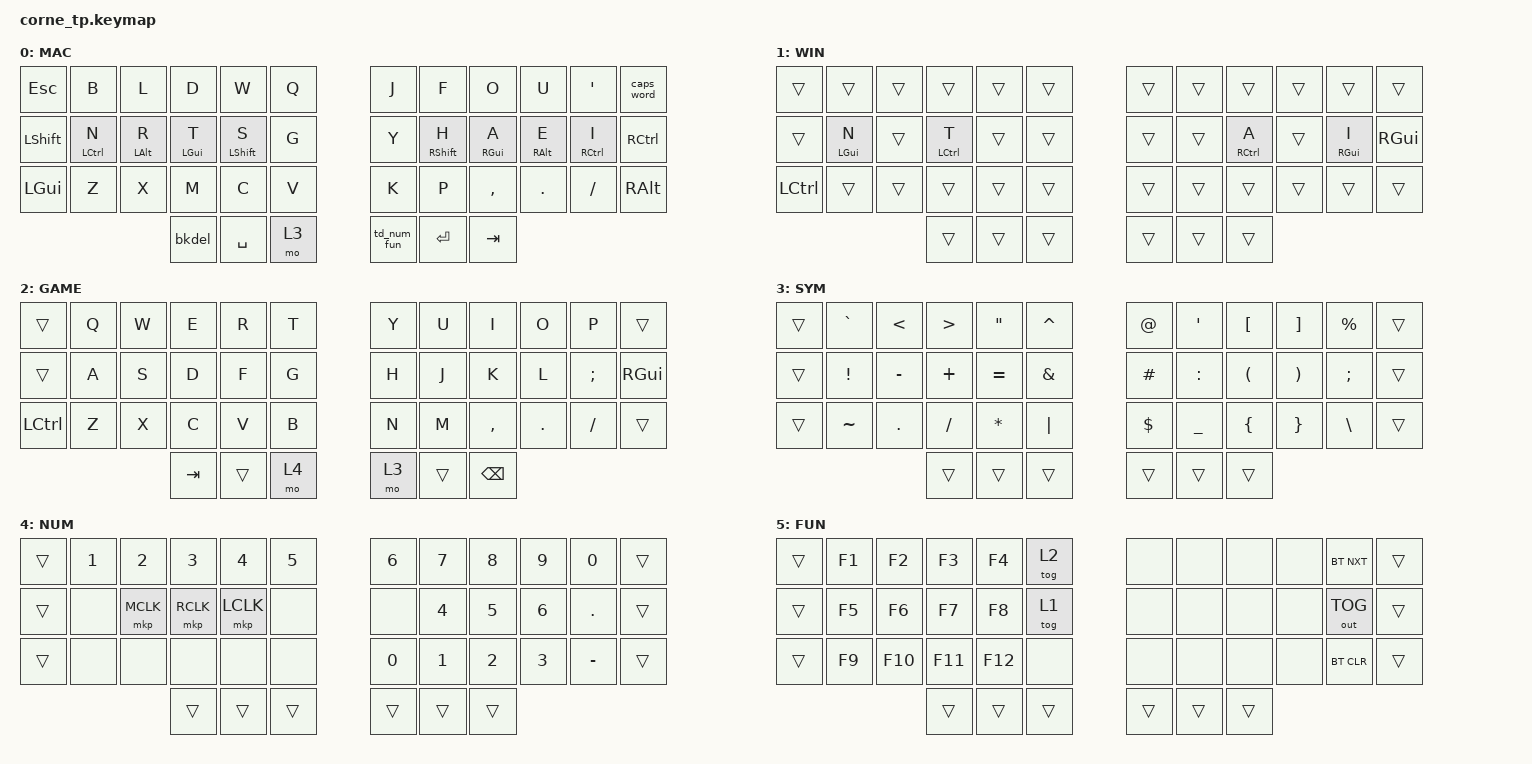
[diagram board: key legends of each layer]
/*
 * Copyright (c) 2020 The ZMK Contributors
 *
 * SPDX-License-Identifier: MIT
 */

#define HAS_MOUSE_TP
#define MOUSE_TP 4
#define DEFAULT 0
#define WIN     1
#define GAME    2
#define SYM     3
#define NUM     4
#define FUN     5

#include "include/mouse_tp.dtsi"
#include <behaviors.dtsi>
#include <dt-bindings/zmk/bt.h>
#include <dt-bindings/zmk/keys.h>
#include <dt-bindings/zmk/outputs.h>
#include <dt-bindings/zmk/pointing.h>

#define KEYS_L   \
     0  1  2  3  4  5    \
    12 13 14 15 16 17    \
    24 25 26 27 28 29    \
#define KEYS_R  \
     6  7  8  9 10 11 \
    18 19 20 21 22 23 \
    30 31 32 33 34 35 \
#define THUMBS_L  \
    36 37 38
#define THUMBS_R \
    39 40 41

&lt {
    quick-tap-ms = <175>;
    flavor = "balanced";
};

&caps_word { continue-list = <UNDERSCORE BACKSPACE DELETE MINUS>; };

&sl { release-after-ms = <400>; };

/ {
    behaviors {
        cmqus: comma_question {
            compatible = "zmk,behavior-mod-morph";
            label = "COMMA_QUESTION";
            #binding-cells = <0>;
            bindings = <&kp COMMA>, <&kp QUESTION>;

            mods = <(MOD_LSFT|MOD_RSFT)>;
        };

        dtsmi: dot_semi {
            compatible = "zmk,behavior-mod-morph";
            label = "DOT_SEMI";
            #binding-cells = <0>;
            bindings = <&kp DOT>, <&kp SEMI>;

            mods = <(MOD_LSFT|MOD_RSFT)>;
        };

        bkdel: back_delete {
            compatible = "zmk,behavior-mod-morph";
            label = "BACK_DELETE";
            bindings = <&kp BACKSPACE>, <&kp DEL>;

            #binding-cells = <0>;
            mods = <(MOD_LSFT|MOD_RSFT)>;
        };

        shtl: shift_tap_left {
            compatible = "zmk,behavior-hold-tap";
            label = "SHIFT_TAP_LEFT";
            flavor = "balanced";
            hold-trigger-key-positions = <36 37 38 39 40 41 6 7 8 9 10 11 18 19 20 21 22 23 30 31 32 33 34 35>;
            hold-trigger-on-release;
            tapping-term-ms = <280>;
            #binding-cells = <2>;
            bindings = <&kp>, <&kp>;

            quick-tap-ms = <175>;
        };

        shtr: shift_tap_right {
            compatible = "zmk,behavior-hold-tap";
            flavor = "balanced";
            label = "SHIFT_TAP_RIGHT";
            hold-trigger-key-positions = <36 37 38 39 40 41 0 1 2 3 4 5 12 13 14 15 16 17 24 25 26 27 28 29>;
            hold-trigger-on-release;
            tapping-term-ms = <280>;
            #binding-cells = <2>;
            bindings = <&kp>, <&kp>;

            quick-tap-ms = <175>;
        };

        hml: home_mod_left {
            compatible = "zmk,behavior-hold-tap";
            label = "HOME_MOD_LEFT";
            flavor = "balanced";
            tapping-term-ms = <280>;
            quick-tap-ms = <175>;
            require-prior-idle-ms = <150>;
            #binding-cells = <2>;
            bindings = <&kp>, <&kp>;

            hold-trigger-key-positions = <36 37 38 39 40 41 6 7 8 9 10 11 18 19 20 21 22 23 30 31 32 33 34 35>;
            hold-trigger-on-release;
        };

        hmr: home_mod_right {
            compatible = "zmk,behavior-hold-tap";
            label = "HOME_MOD_RIGHT";
            flavor = "balanced";
            tapping-term-ms = <280>;
            quick-tap-ms = <175>;
            require-prior-idle-ms = <150>;
            #binding-cells = <2>;
            bindings = <&kp>, <&kp>;

            hold-trigger-key-positions = <36 37 38 39 40 41 0 1 2 3 4 5 12 13 14 15 16 17 24 25 26 27 28 29>;
            hold-trigger-on-release;
        };

        mo_lock: mo_lock {
            compatible = "zmk,behavior-momentary-layer";
            #binding-cells = <1>;
            locking;
        };

        td_num_fun: td_num_fun {
            compatible = "zmk,behavior-tap-dance";
            label = "TD_NUM_FUN";
            #binding-cells = <0>;
            tapping-term-ms = <280>;
            bindings = <&mo 4>, <&mo_lock 5>;
        };
    };

    keymap {
        compatible = "zmk,keymap";

        default_layer {
            display-name = "MAC";
            bindings = <
&kp ESC    &kp B                &kp L            &kp D            &kp W               &kp Q    &kp J        &kp F                &kp O             &kp U             &kp APOS              &caps_word
&kp LSHFT  &hml LEFT_CONTROL N  &hml LEFT_ALT R  &hml LEFT_GUI T  &shtl LEFT_SHIFT S  &kp G    &kp Y        &shtr RIGHT_SHIFT H  &hmr RIGHT_GUI A  &hmr RIGHT_ALT E  &hmr RIGHT_CONTROL I  &kp RIGHT_CONTROL
&kp LGUI   &kp Z                &kp X            &kp M            &kp C               &kp V    &kp K        &kp P                &kp COMMA         &kp PERIOD        &kp SLASH             &kp RIGHT_ALT
                                                 &bkdel           &kp SPACE           &mo 3    &td_num_fun  &kp ENTER            &kp TAB
            >;
        };

        windows_layer {
            bindings = <
&trans            &trans           &trans  &trans               &trans  &trans    &trans  &trans  &trans                &trans  &trans            &trans
&trans            &hml LEFT_GUI N  &trans  &hml LEFT_CONTROL T  &trans  &trans    &trans  &trans  &hmr RIGHT_CONTROL A  &trans  &hmr RIGHT_GUI I  &kp RIGHT_GUI
&kp LEFT_CONTROL  &trans           &trans  &trans               &trans  &trans    &trans  &trans  &trans                &trans  &trans            &trans
                                           &trans               &trans  &trans    &trans  &trans  &trans
            >;

            label = "WIN";
        };

        game_layer {
            display-name = "GAME";
            bindings = <
&trans            &kp Q  &kp W  &kp E    &kp R   &kp T    &kp Y  &kp U   &kp I          &kp O    &kp P     &trans
&trans            &kp A  &kp S  &kp D    &kp F   &kp G    &kp H  &kp J   &kp K          &kp L    &kp SEMI  &kp RIGHT_GUI
&kp LEFT_CONTROL  &kp Z  &kp X  &kp C    &kp V   &kp B    &kp N  &kp M   &kp COMMA      &kp DOT  &kp FSLH  &trans
                                &kp TAB  &trans  &mo 4    &mo 3  &trans  &kp BACKSPACE
            >;
        };

        symbol_layer {
            // -----------------------------------------------------------------------------------------
            // |  TAB |  !  |  @  |  #  |  $  |  %  |   |  ^  |  &  |  *  |  (  |  )  | BKSP |
            // | CTRL |     |     |     |     |     |   |  -  |  =  |  [  |  ]  |  \  |  `   |
            // | SHFT |     |     |     |     |     |   |  _  |  +  |  {  |  }  | "|" |  ~   |
            //                    | GUI |     | SPC |   | ENT |     | ALT |

            display-name = "SYM";
            bindings = <
&trans  &kp GRAVE        &kp LESS_THAN  &kp GREATER_THAN  &kp DOUBLE_QUOTES  &kp CARET    &kp AT_SIGN  &kp SINGLE_QUOTE  &kp LEFT_BRACKET      &kp RIGHT_BRACKET      &kp PERCENT    &trans
&trans  &kp EXCLAMATION  &kp MINUS      &kp PLUS          &kp EQUAL          &kp AMPS     &kp POUND    &kp COLON         &kp LEFT_PARENTHESIS  &kp RIGHT_PARENTHESIS  &kp SEMI       &trans
&trans  &kp TILDE        &kp PERIOD     &kp SLASH         &kp ASTRK          &kp PIPE     &kp DOLLAR   &kp UNDER         &kp LBRC              &kp RBRC               &kp BACKSLASH  &trans
                                        &trans            &trans             &trans       &trans       &trans            &trans
            >;
        };

        number_layer {
            display-name = "NUM";
            bindings = <
&trans  &kp N1  &kp N2     &kp N3     &kp N4     &kp N5    &kp N6  &kp N7  &kp N8  &kp N9  &kp N0     &trans
&trans  &none   &mkp MCLK  &mkp RCLK  &mkp LCLK  &none     &none   &kp N4  &kp N5  &kp N6  &kp DOT    &trans
&trans  &none   &none      &none      &none      &none     &kp N0  &kp N1  &kp N2  &kp N3  &kp MINUS  &trans
                           &trans     &trans     &trans    &trans  &trans  &trans
            >;
        };

        function_layer {
            bindings = <
&trans  &kp F1  &kp F2   &kp F3   &kp F4   &tog 2    &none   &none   &none   &none  &bt BT_NXT    &trans
&trans  &kp F5  &kp F6   &kp F7   &kp F8   &tog 1    &none   &none   &none   &none  &out OUT_TOG  &trans
&trans  &kp F9  &kp F10  &kp F11  &kp F12  &none     &none   &none   &none   &none  &bt BT_CLR    &trans
                         &trans   &trans   &trans    &trans  &trans  &trans
            >;

            label = "FUN";
        };
    };

    conditional_layers {
        compatible = "zmk,conditional-layers";

        FUN {
            if-layers = <3 4>;
            then-layer = <5>;
        };
    };
};
